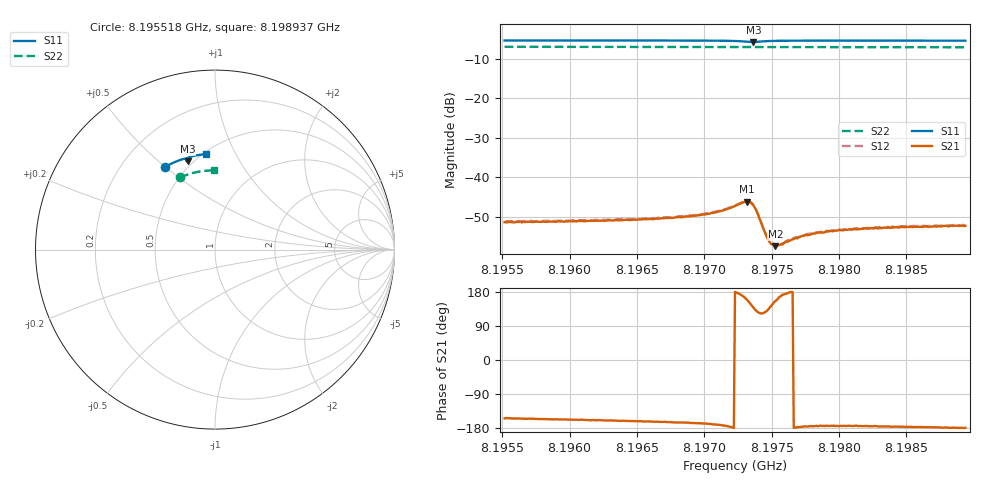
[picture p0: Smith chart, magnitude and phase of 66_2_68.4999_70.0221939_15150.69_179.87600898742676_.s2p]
#  HZ  S  RI  R  50.00
! Rohde & Schwarz Vector Network Analyzer
! Rohde-Schwarz,ZNB20-2Port,1311601062101988,3.16
! Created: UTC 3/20/2024, 4:51:32 PM
! freq[Hz]  re:S11  im:S11  re:S21  im:S21  re:S12  im:S12  re:S22  im:S22
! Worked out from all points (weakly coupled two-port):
!   401 points, 8.195518 GHz to 8.198937 GHz, reference 50 ohm
!   highest |S21| = -46.21 dB at 8.197313 GHz (marker M1); lowest = -57.5 dB at 8.197527 GHz (marker M2)
!   lowest |S11| = -5.8 dB at 8.197364 GHz (marker M3), VSWR 3.12, Z = 23.4 + j31.3 ohm
!   |S11| at or under -10 dB: nowhere
!   |S22| runs from -7.1 to -7.0 dB; largest |S21 - S12| = 0.00026
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8.1955182e9  -0.2768 0.4608  -0.00241 -0.00117  -0.00246 -0.00111  -0.1941 0.4021
8.1960909e9  -0.2407 0.4801  -0.00258 -0.00106  -0.00262 -0.000972  -0.1645 0.4143
8.1966635e9  -0.2026 0.4965  -0.00285 -0.000853  -0.00297 -0.00076  -0.1339 0.4242
8.1968687e9  -0.188 0.5017  -0.00308 -0.000791  -0.00315 -0.000689  -0.1227 0.4272
8.1970225e9  -0.1762 0.5051  -0.00335 -0.000691  -0.00344 -0.000554  -0.1144 0.4293
8.1971251e9  -0.1672 0.5066  -0.00369 -0.000541  -0.00379 -0.000368  -0.1087 0.4305
8.1972276e9  -0.1566 0.5058  -0.00431 2.72e-05  -0.00436 0.000194  -0.1031 0.4315
8.1973131e9  -0.1487 0.4978  -0.0046 0.00167  -0.00462 0.00191  -0.0983 0.4323
8.1973388e9  -0.1495 0.4936  -0.00417 0.00241  -0.00413 0.00264  -0.0968 0.4325
8.1973644e9  -0.153 0.4909  -0.00325 0.00291  -0.00318 0.0031  -0.0956 0.4326
8.19739e9  -0.1576 0.4917  -0.00226 0.00283  -0.00218 0.00298  -0.0944 0.433
8.1974499e9  -0.1606 0.5003  -0.00117 0.00158  -0.00111 0.00165  -0.0912 0.4336
8.1974755e9  -0.1594 0.5037  -0.0011 0.00115  -0.00107 0.00117  -0.0897 0.4341
8.1975011e9  -0.1575 0.5063  -0.00115 0.000791  -0.00111 0.000866  -0.0883 0.4343
8.1975268e9  -0.1553 0.5083  -0.00121 0.000559  -0.00123 0.000623  -0.0869 0.4347
8.1975695e9  -0.1516 0.5109  -0.00138 0.000285  -0.00138 0.000322  -0.0846 0.4351
8.1976208e9  -0.1473 0.5133  -0.00152 8.85e-05  -0.00159 0.000151  -0.0817 0.4356
8.1976721e9  -0.1429 0.5149  -0.00167 -6e-05  -0.0017 2.86e-05  -0.0786 0.436
8.1978003e9  -0.133 0.5183  -0.00192 -0.00017  -0.00196 -0.000109  -0.0717 0.4369
8.1979798e9  -0.1194 0.5217  -0.00208 -0.000231  -0.00214 -0.000113  -0.0615 0.4385
8.198373e9  -0.0911 0.5273  -0.00227 -0.000189  -0.00233 -0.000107  -0.0394 0.4401
8.1989371e9  -0.0509 0.532  -0.00241 -4.81e-05  -0.00246 9.37e-05  -0.00747 0.4409
